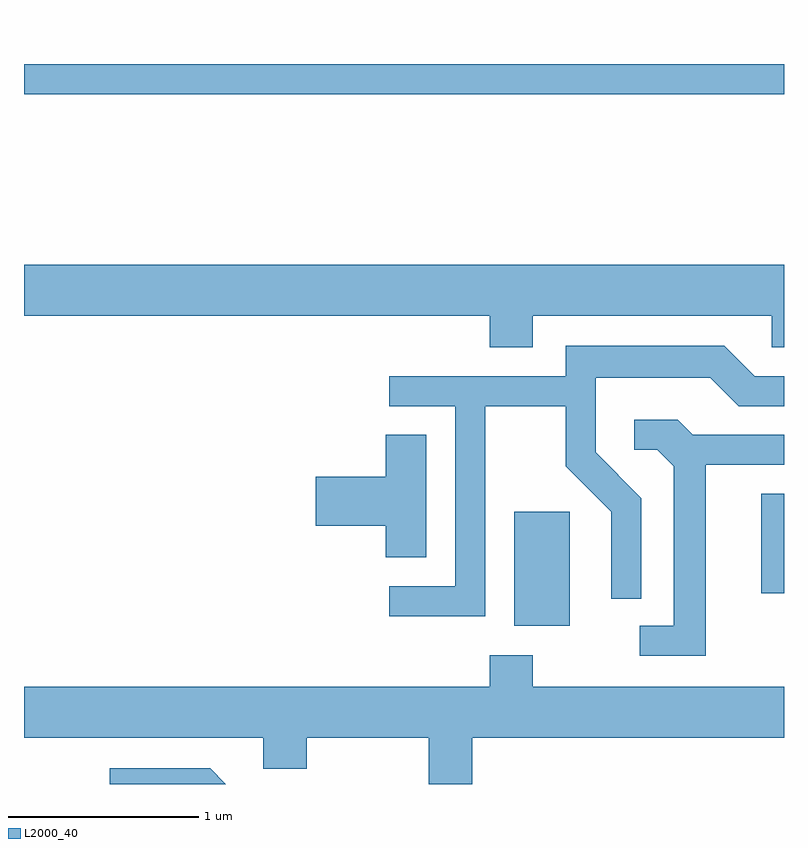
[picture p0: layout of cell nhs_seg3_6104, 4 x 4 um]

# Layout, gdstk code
import gdstk
lib = gdstk.Library(unit=1e-6, precision=1e-09)
def R(c, l, rs):  # rectangles x0, y0, x1, y1
    for r in rs: c.add(gdstk.rectangle(r[:2], r[2:], *l))
def P(c, l, *ps):  # polygons
    for p in ps: c.add(gdstk.Polygon(p, *l))
L2000_40 = (2000, 40)

nhs_seg3_6104 = lib.new_cell('nhs_seg3_6104')
R(nhs_seg3_6104, L2000_40, [(366.191,1228.726,366.484,1229.324), (367.491,1228.896,367.611,1229.419), (363.611,1231.521,367.611,1231.679), (363.611,1231.891,367.611,1231.892)])
P(nhs_seg3_6104, L2000_40, [(366.289,1230.356),(367.546,1230.356),(367.546,1230.191),(367.611,1230.191),(367.611,1230.624),(363.611,1230.624),(363.611,1230.356),(366.061,1230.356),(366.061,1230.191),(366.289,1230.191)],
  [(366.039,1229.881),(366.461,1229.881),(366.461,1229.564),(366.701,1229.324),(366.701,1228.868),(366.859,1228.868),(366.859,1229.397),(366.619,1229.637),(366.619,1230.031),(367.224,1230.031),(367.374,1229.881),(367.611,1229.881),(367.611,1230.039),(367.457,1230.039),(367.297,1230.199),(366.461,1230.199),(366.461,1230.039),(365.533,1230.039),(365.533,1229.881),(365.881,1229.881),(365.881,1228.934),(365.533,1228.934),(365.533,1228.776),(366.039,1228.776)],
  [(367.199,1229.571),(367.611,1229.571),(367.611,1229.729),(367.132,1229.729),(367.052,1229.809),(366.823,1229.809),(366.823,1229.651),(366.944,1229.651),(367.031,1229.564),(367.031,1228.724),(366.853,1228.724),(366.853,1228.566),(367.199,1228.566)],
  [(365.729,1229.729),(365.516,1229.729),(365.516,1229.509),(365.146,1229.509),(365.146,1229.251),(365.516,1229.251),(365.516,1229.086),(365.729,1229.086)],
  [(365.969,1228.136),(367.611,1228.136),(367.611,1228.404),(366.289,1228.404),(366.289,1228.569),(366.061,1228.569),(366.061,1228.404),(363.611,1228.404),(363.611,1228.136),(364.871,1228.136),(364.871,1227.971),(365.099,1227.971),(365.099,1228.136),(365.741,1228.136),(365.741,1227.892),(365.969,1227.892)],
  [(364.592,1227.974),(364.063,1227.974),(364.063,1227.892),(364.674,1227.892)])

lib.write_gds('nhs_seg3_6104.gds')
